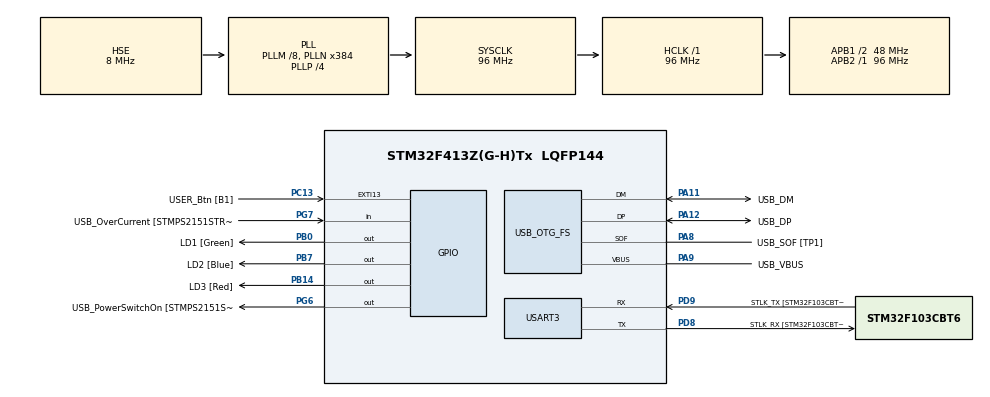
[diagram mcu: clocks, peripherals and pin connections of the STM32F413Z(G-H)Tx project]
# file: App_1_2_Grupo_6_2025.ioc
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Mcu.Family=STM32F4
Mcu.Name=STM32F413Z(G-H)Tx
Mcu.Package=LQFP144
NVIC.PriorityGroup=NVIC_PRIORITYGROUP_4
PA10.GPIO_Label=USB_ID
PA10.Signal=USB_OTG_FS_ID
PA11.GPIO_Label=USB_DM
PA11.Mode=Device_Only
PA11.Signal=USB_OTG_FS_DM
PA12.GPIO_Label=USB_DP
PA12.Mode=Device_Only
PA12.Signal=USB_OTG_FS_DP
PA13.GPIO_Label=TMS
PA13.Mode=Serial_Wire
PA13.Signal=SYS_JTMS-SWDIO
PA14.GPIO_Label=TCK
PA14.Mode=Serial_Wire
PA14.Signal=SYS_JTCK-SWCLK
PA8.GPIO_Label=USB_SOF [TP1]
PA8.Mode=Activate_SOF_FS
PA8.Signal=USB_OTG_FS_SOF
PA9.GPIO_Label=USB_VBUS
PA9.Mode=Activate_VBUS
PA9.Signal=USB_OTG_FS_VBUS
PB0.GPIO_Label=LD1 [Green]
PB0.Signal=GPIO_Output
PB14.GPIO_Label=LD3 [Red]
PB14.Signal=GPIO_Output
PB3.GPIO_Label=SWO
PB3.Signal=SYS_JTDO-SWO
PB7.GPIO_Label=LD2 [Blue]
PB7.Signal=GPIO_Output
PC13.GPIO_Label=USER_Btn [B1]
PC13.Signal=GPXTI13
PC14-OSC32_IN.Mode=LSE-External-Oscillator
PC14-OSC32_IN.Signal=RCC_OSC32_IN
PC15-OSC32_OUT.Mode=LSE-External-Oscillator
PC15-OSC32_OUT.Signal=RCC_OSC32_OUT
PD8.GPIO_Label=STLK_RX [STM32F103CBT6_PA3]
PD8.Mode=Asynchronous
PD8.Signal=USART3_TX
PD9.GPIO_Label=STLK_TX [STM32F103CBT6_PA2]
PD9.Mode=Asynchronous
PD9.Signal=USART3_RX
PG6.GPIO_Label=USB_PowerSwitchOn [STMPS2151STR_EN]
PG6.Signal=GPIO_Output
PG7.GPIO_Label=USB_OverCurrent [STMPS2151STR_FAULT]
PG7.Signal=GPIO_Input
PH0\ -\ OSC_IN.GPIO_Label=MCO
PH0\ -\ OSC_IN.Mode=HSE-External-Clock-Source
PH0\ -\ OSC_IN.Signal=RCC_OSC_IN
PH1\ -\ OSC_OUT.Mode=HSE-External-Clock-Source
PH1\ -\ OSC_OUT.Signal=RCC_OSC_OUT
ProjectManager.HeapSize=0x200
ProjectManager.StackSize=0x400
ProjectManager.TargetToolchain=STM32CubeIDE
RCC.48MHZClocksFreq_Value=24000000
RCC.AHBFreq_Value=96000000
RCC.APB1CLKDivider=RCC_HCLK_DIV2
RCC.APB1Freq_Value=48000000
RCC.APB1TimFreq_Value=96000000
RCC.APB2Freq_Value=96000000
RCC.APB2TimFreq_Value=96000000
RCC.CortexFreq_Value=96000000
RCC.HCLKFreq_Value=96000000
RCC.HSE_VALUE=8000000
RCC.HSI_VALUE=16000000
RCC.PLLM=8
RCC.PLLMUL=RCC_PLL_MUL9
RCC.PLLN=384
RCC.PLLP=RCC_PLLP_DIV4
RCC.PLLQ=8
RCC.PRESCALERUSB=RCC_USBCLKSOURCE_PLL_DIV1_5
RCC.SYSCLKFreq_VALUE=96000000
RCC.SYSCLKSource=RCC_SYSCLKSOURCE_PLLCLK
RCC.SYSCLKSourceVirtual=RCC_SYSCLKSOURCE_PLLCLK
RCC.USBFreq_Value=48000000
RCC.VCOOutputFreq_Value=384000000
USART3.VirtualMode=VM_ASYNC
USB_OTG_FS.VirtualMode=Device_Only
board=NUCLEO-F413ZH

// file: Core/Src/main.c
/* USER CODE BEGIN Header */
/**
  ******************************************************************************
  * @file           : main.c
  * @brief          : Main program body
  ******************************************************************************
  * @attention
  *
  * Copyright (c) 2025 STMicroelectronics.
  * All rights reserved.
  *
  * This software is licensed under terms that can be found in the LICENSE file
  * in the root directory of this software component.
  * If no LICENSE file comes with this software, it is provided AS-IS.
  *
  ******************************************************************************
  */
/* USER CODE END Header */
#include "main.h"

/* USER CODE BEGIN PTD */
typedef enum{				//Se definen dos constantes enum para las secuencias y se utiliza typedef para asignarle el alias secuencia
	secuencia_normal=1,
	secuencia_invertida=-1
} secuencia;
/* USER CODE END PTD */

/* USER CODE BEGIN PD */
#define N 3 //variable N para definir el tamaño del vector LED
int LED[N]={LD1_Pin, LD2_Pin, LD3_Pin}; 	/*Vector de leds*/
secuencia estado_secuencia=secuencia_normal;  //el estado inicial sera la secuencia normal

int estado_boton=0, estado_anterior=GPIO_PIN_RESET;		//Controlar si el boton esta presionado y si es que no mantuvo asi hasta que vuelva a controlarse el estado

/* USER CODE END PD */

UART_HandleTypeDef huart3;

PCD_HandleTypeDef hpcd_USB_OTG_FS;

void SystemClock_Config(void);
static void MX_GPIO_Init(void);
static void MX_USART3_UART_Init(void);
static void MX_USB_OTG_FS_PCD_Init(void);

/* USER CODE BEGIN PFP */
void encender_leds_normal(void){							/* Funciona para secuencia en orden ascendente del vector (Verde, Azul, Rojo)*/

	HAL_GPIO_WritePin(GPIOB, LED[N-1], GPIO_PIN_RESET);
	for (int i = 0; i < N; i++)
	{
		HAL_GPIO_WritePin(GPIOB, LED[i], GPIO_PIN_SET);
		HAL_Delay(200);
		HAL_GPIO_WritePin(GPIOB, LED[i], GPIO_PIN_RESET);
		HAL_Delay(200);
	}
}

void encender_leds_invertido(void){							/* Funciona para secuencia en orden descendente del vector (Rojo, Azul, Verde)*/

	HAL_GPIO_WritePin(GPIOB, LED[0], GPIO_PIN_RESET);
	for (int i=N-1; i>=0; i--){
		HAL_GPIO_WritePin(GPIOB, LED[i], GPIO_PIN_SET);
		HAL_Delay(200);
		HAL_GPIO_WritePin(GPIOB, LED[i], GPIO_PIN_RESET);
		HAL_Delay(200);
	}
}
/* USER CODE END PFP */

int main(void)
{

  /* MCU Configuration--------------------------------------------------------*/

  /* Reset of all peripherals, Initializes the Flash interface and the Systick. */
  HAL_Init();

  /* Configure the system clock */
  SystemClock_Config();

  /* Initialize all configured peripherals */
  MX_GPIO_Init();
  MX_USART3_UART_Init();
  MX_USB_OTG_FS_PCD_Init();

  /* Infinite loop */
  /* USER CODE BEGIN WHILE */
  while (1)
  {
    /* Secuencia de parpadeo de leds que se alterna cada vez que se presiona el boton de usuario en la placa */

	  estado_boton=HAL_GPIO_ReadPin(GPIOC,USER_Btn_Pin);		//Compruebo si el boton esta presionado

	  if(estado_boton==GPIO_PIN_SET && estado_anterior==GPIO_PIN_RESET){	/*	-Cambia el estado de la secuencia
		  	  	  	  	  	  	  	  	  	  	  	  	  	  	  	  	  	 	- Evita que alterne una y otra vez si se lo mantiene presionado*/
		  	estado_secuencia=-estado_secuencia;								/*	Los valores para las 2 secuencias son 1 y -1*/

	  }
	  estado_anterior=estado_boton;											/* Guarda el si el boton esta pulsado o no cuando se hizo el control*/

	  switch (estado_secuencia){											/* Selecciona cual secuencia se ejecutara*/

	  	  case -1:
	  		  encender_leds_invertido();
	  		  break;
	  	  case 1:
	  		  encender_leds_normal();
	  		  break;
	  }
  }
}

void SystemClock_Config(void)
{
  RCC_OscInitTypeDef RCC_OscInitStruct = {0};
  RCC_ClkInitTypeDef RCC_ClkInitStruct = {0};

  /** Configure the main internal regulator output voltage
  */
  __HAL_RCC_PWR_CLK_ENABLE();
  __HAL_PWR_VOLTAGESCALING_CONFIG(PWR_REGULATOR_VOLTAGE_SCALE1);

  /** Initializes the RCC Oscillators according to the specified parameters
  * in the RCC_OscInitTypeDef structure.
  */
  RCC_OscInitStruct.OscillatorType = RCC_OSCILLATORTYPE_HSE;
  RCC_OscInitStruct.HSEState = RCC_HSE_BYPASS;
  RCC_OscInitStruct.PLL.PLLState = RCC_PLL_ON;
  RCC_OscInitStruct.PLL.PLLSource = RCC_PLLSOURCE_HSE;
  RCC_OscInitStruct.PLL.PLLM = 8;
  RCC_OscInitStruct.PLL.PLLN = 384;
  RCC_OscInitStruct.PLL.PLLP = RCC_PLLP_DIV4;
  RCC_OscInitStruct.PLL.PLLQ = 8;
  RCC_OscInitStruct.PLL.PLLR = 2;
  if (HAL_RCC_OscConfig(&RCC_OscInitStruct) != HAL_OK)
  {
    Error_Handler();
  }

  /** Initializes the CPU, AHB and APB buses clocks
  */
  RCC_ClkInitStruct.ClockType = RCC_CLOCKTYPE_HCLK|RCC_CLOCKTYPE_SYSCLK
                              |RCC_CLOCKTYPE_PCLK1|RCC_CLOCKTYPE_PCLK2;
  RCC_ClkInitStruct.SYSCLKSource = RCC_SYSCLKSOURCE_PLLCLK;
  RCC_ClkInitStruct.AHBCLKDivider = RCC_SYSCLK_DIV1;
  RCC_ClkInitStruct.APB1CLKDivider = RCC_HCLK_DIV2;
  RCC_ClkInitStruct.APB2CLKDivider = RCC_HCLK_DIV1;

  if (HAL_RCC_ClockConfig(&RCC_ClkInitStruct, FLASH_LATENCY_3) != HAL_OK)
  {
    Error_Handler();
  }
}

static void MX_USART3_UART_Init(void)
{

  huart3.Instance = USART3;
  huart3.Init.BaudRate = 115200;
  huart3.Init.WordLength = UART_WORDLENGTH_8B;
  huart3.Init.StopBits = UART_STOPBITS_1;
  huart3.Init.Parity = UART_PARITY_NONE;
  huart3.Init.Mode = UART_MODE_TX_RX;
  huart3.Init.HwFlowCtl = UART_HWCONTROL_NONE;
  huart3.Init.OverSampling = UART_OVERSAMPLING_16;
  if (HAL_UART_Init(&huart3) != HAL_OK)
  {
    Error_Handler();
  }

}

static void MX_USB_OTG_FS_PCD_Init(void)
{

  hpcd_USB_OTG_FS.Instance = USB_OTG_FS;
  hpcd_USB_OTG_FS.Init.dev_endpoints = 6;
  hpcd_USB_OTG_FS.Init.speed = PCD_SPEED_FULL;
  hpcd_USB_OTG_FS.Init.dma_enable = DISABLE;
  hpcd_USB_OTG_FS.Init.phy_itface = PCD_PHY_EMBEDDED;
  hpcd_USB_OTG_FS.Init.Sof_enable = ENABLE;
  hpcd_USB_OTG_FS.Init.low_power_enable = DISABLE;
  hpcd_USB_OTG_FS.Init.lpm_enable = DISABLE;
  hpcd_USB_OTG_FS.Init.battery_charging_enable = ENABLE;
  hpcd_USB_OTG_FS.Init.vbus_sensing_enable = ENABLE;
  hpcd_USB_OTG_FS.Init.use_dedicated_ep1 = DISABLE;
  if (HAL_PCD_Init(&hpcd_USB_OTG_FS) != HAL_OK)
  {
    Error_Handler();
  }

}

static void MX_GPIO_Init(void)
{
  GPIO_InitTypeDef GPIO_InitStruct = {0};

  /* GPIO Ports Clock Enable */
  __HAL_RCC_GPIOC_CLK_ENABLE();
  __HAL_RCC_GPIOH_CLK_ENABLE();
  __HAL_RCC_GPIOB_CLK_ENABLE();
  __HAL_RCC_GPIOD_CLK_ENABLE();
  __HAL_RCC_GPIOG_CLK_ENABLE();
  __HAL_RCC_GPIOA_CLK_ENABLE();

  /*Configure GPIO pin Output Level */
  HAL_GPIO_WritePin(GPIOB, LD1_Pin|LD3_Pin|LD2_Pin, GPIO_PIN_RESET);

  /*Configure GPIO pin Output Level */
  HAL_GPIO_WritePin(USB_PowerSwitchOn_GPIO_Port, USB_PowerSwitchOn_Pin, GPIO_PIN_RESET);

  /*Configure GPIO pin : USER_Btn_Pin */
  GPIO_InitStruct.Pin = USER_Btn_Pin;
  GPIO_InitStruct.Mode = GPIO_MODE_IT_RISING;
  GPIO_InitStruct.Pull = GPIO_NOPULL;
  HAL_GPIO_Init(USER_Btn_GPIO_Port, &GPIO_InitStruct);

  /*Configure GPIO pins : LD1_Pin LD3_Pin LD2_Pin */
  GPIO_InitStruct.Pin = LD1_Pin|LD3_Pin|LD2_Pin;
  GPIO_InitStruct.Mode = GPIO_MODE_OUTPUT_PP;
  GPIO_InitStruct.Pull = GPIO_NOPULL;
  GPIO_InitStruct.Speed = GPIO_SPEED_FREQ_LOW;
  HAL_GPIO_Init(GPIOB, &GPIO_InitStruct);

  /*Configure GPIO pin : USB_PowerSwitchOn_Pin */
  GPIO_InitStruct.Pin = USB_PowerSwitchOn_Pin;
  GPIO_InitStruct.Mode = GPIO_MODE_OUTPUT_PP;
  GPIO_InitStruct.Pull = GPIO_NOPULL;
  GPIO_InitStruct.Speed = GPIO_SPEED_FREQ_LOW;
  HAL_GPIO_Init(USB_PowerSwitchOn_GPIO_Port, &GPIO_InitStruct);

  /*Configure GPIO pin : USB_OverCurrent_Pin */
  GPIO_InitStruct.Pin = USB_OverCurrent_Pin;
  GPIO_InitStruct.Mode = GPIO_MODE_INPUT;
  GPIO_InitStruct.Pull = GPIO_NOPULL;
  HAL_GPIO_Init(USB_OverCurrent_GPIO_Port, &GPIO_InitStruct);

}

void Error_Handler(void)
{
  __disable_irq();
  while (1)
  {
  }
}
